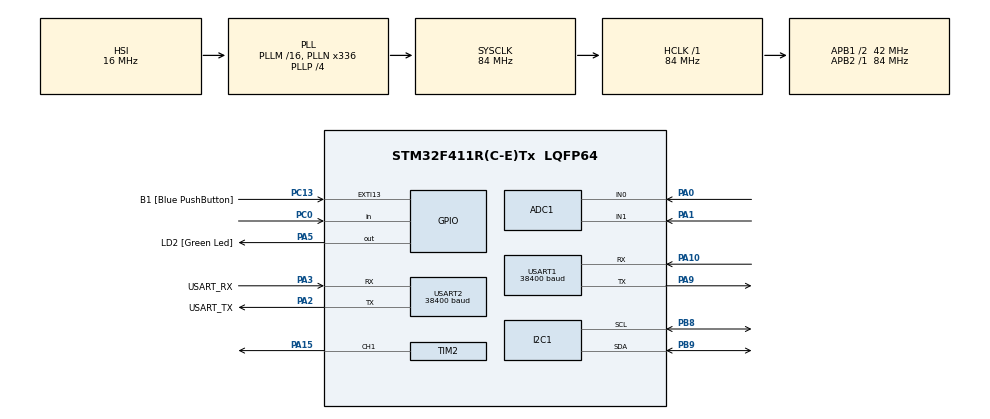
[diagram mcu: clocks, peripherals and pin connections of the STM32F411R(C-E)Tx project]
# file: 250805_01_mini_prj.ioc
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ADC1.Channel-0\#ChannelRegularConversion=ADC_CHANNEL_1
ADC1.NbrOfConversionFlag=1
ADC1.Rank-0\#ChannelRegularConversion=1
ADC1.SamplingTime-0\#ChannelRegularConversion=ADC_SAMPLETIME_3CYCLES
ADC1.master=1
FREERTOS.Tasks01=defaultTask,8,2048,StartDefaultTask,Default,NULL,Dynamic,NULL,NULL;JoyStickTask,16,512,StartTask02,Default,NULL,Dynamic,NULL,NULL;BGMTask,8,128,StartTask03,Default,NULL,Dynamic,NULL,NULL
FREERTOS.configUSE_NEWLIB_REENTRANT=1
Mcu.Family=STM32F4
Mcu.Name=STM32F411R(C-E)Tx
Mcu.Package=LQFP64
NVIC.PriorityGroup=NVIC_PRIORITYGROUP_4
NVIC.TIM1_UP_TIM10_IRQn=true\:15\:0\:false\:false\:true\:false\:false\:true\:true
NVIC.TimeBase=TIM1_UP_TIM10_IRQn
NVIC.TimeBaseIP=TIM1
NVIC.USART1_IRQn=true\:5\:0\:false\:false\:true\:true\:true\:true\:true
NVIC.USART2_IRQn=true\:5\:0\:false\:false\:true\:true\:true\:true\:true
PA0-WKUP.Signal=ADCx_IN0
PA1.Signal=ADCx_IN1
PA10.Mode=Asynchronous
PA10.Signal=USART1_RX
PA13.GPIO_Label=TMS
PA13.Mode=Serial_Wire
PA13.Signal=SYS_JTMS-SWDIO
PA14.GPIO_Label=TCK
PA14.Mode=Serial_Wire
PA14.Signal=SYS_JTCK-SWCLK
PA15.Signal=S_TIM2_CH1_ETR
PA2.GPIO_Label=USART_TX
PA2.Mode=Asynchronous
PA2.Signal=USART2_TX
PA3.GPIO_Label=USART_RX
PA3.Mode=Asynchronous
PA3.Signal=USART2_RX
PA5.GPIO_Label=LD2 [Green Led]
PA5.Signal=GPIO_Output
PA9.Mode=Asynchronous
PA9.Signal=USART1_TX
PB3.GPIO_Label=SWO
PB3.Signal=SYS_JTDO-SWO
PB8.Mode=I2C
PB8.Signal=I2C1_SCL
PB9.Mode=I2C
PB9.Signal=I2C1_SDA
PC0.GPIO_PuPd=GPIO_PULLUP
PC0.Signal=GPIO_Input
PC13-ANTI_TAMP.GPIO_Label=B1 [Blue PushButton]
PC13-ANTI_TAMP.GPIO_ModeDefaultEXTI=GPIO_MODE_IT_FALLING
PC13-ANTI_TAMP.Signal=GPXTI13
PC14-OSC32_IN.Mode=LSE-External-Oscillator
PC14-OSC32_IN.Signal=RCC_OSC32_IN
PC15-OSC32_OUT.Mode=LSE-External-Oscillator
PC15-OSC32_OUT.Signal=RCC_OSC32_OUT
PH0\ -\ OSC_IN.Mode=HSE-External-Clock-Source
PH0\ -\ OSC_IN.Signal=RCC_OSC_IN
PH1\ -\ OSC_OUT.Mode=HSE-External-Clock-Source
PH1\ -\ OSC_OUT.Signal=RCC_OSC_OUT
ProjectManager.HeapSize=0x200
ProjectManager.StackSize=0x400
ProjectManager.TargetToolchain=STM32CubeIDE
RCC.48MHZClocksFreq_Value=84000000
RCC.AHBFreq_Value=84000000
RCC.APB1CLKDivider=RCC_HCLK_DIV2
RCC.APB1Freq_Value=42000000
RCC.APB1TimFreq_Value=84000000
RCC.APB2Freq_Value=84000000
RCC.APB2TimFreq_Value=84000000
RCC.CortexFreq_Value=84000000
RCC.FLatency-AdvancedSettings=FLASH_LATENCY_2
RCC.HCLKFreq_Value=84000000
RCC.HSE_VALUE=8000000
RCC.HSI_VALUE=16000000
RCC.PLLN=336
RCC.PLLP=RCC_PLLP_DIV4
RCC.SYSCLKFreq_VALUE=84000000
RCC.SYSCLKSource=RCC_SYSCLKSOURCE_PLLCLK
RCC.VCOOutputFreq_Value=336000000
SH.ADCx_IN0.0=ADC1_IN0,IN0
SH.ADCx_IN1.0=ADC1_IN1,IN1
SH.S_TIM2_CH1_ETR.0=TIM2_CH1,PWM Generation1 CH1
TIM2.Channel-PWM\ Generation1\ CH1=TIM_CHANNEL_1
TIM2.Period=999
TIM2.Prescaler=83
USART1.BaudRate=38400
USART1.VirtualMode=VM_ASYNC
USART2.BaudRate=38400
USART2.VirtualMode=VM_ASYNC
VP_FREERTOS_VS_CMSIS_V2.Mode=CMSIS_V2
VP_SYS_VS_tim1.Mode=TIM1
board=NUCLEO-F411RE

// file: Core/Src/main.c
/* USER CODE BEGIN Header */
/**
 ******************************************************************************
 * @file           : main.c
 * @brief          : Main program body
 ******************************************************************************
 * @attention
 *
 * Copyright (c) 2025 STMicroelectronics.
 * All rights reserved.
 *
 * This software is licensed under terms that can be found in the LICENSE file
 * in the root directory of this software component.
 * If no LICENSE file comes with this software, it is provided AS-IS.
 *
 ******************************************************************************
 */
/* USER CODE END Header */
#include "main.h"
#include "cmsis_os.h"

/* USER CODE BEGIN Includes */
#include <stdio.h>
#include <stdlib.h>
#include <string.h>
#include "Headers.h"
#include "my_lcd_i2c.h"
#include "joystick.h"
#include "buzzer.h"
/* USER CODE END Includes */

ADC_HandleTypeDef hadc1;

I2C_HandleTypeDef hi2c1;

TIM_HandleTypeDef htim2;

UART_HandleTypeDef huart1;
UART_HandleTypeDef huart2;

/* Definitions for defaultTask */
osThreadId_t defaultTaskHandle;
const osThreadAttr_t defaultTask_attributes = {
  .name = "defaultTask",
  .stack_size = 2048 * 4,
  .priority = (osPriority_t) osPriorityLow,
};
/* Definitions for JoyStickTask */
osThreadId_t JoyStickTaskHandle;
const osThreadAttr_t JoyStickTask_attributes = {
  .name = "JoyStickTask",
  .stack_size = 512 * 4,
  .priority = (osPriority_t) osPriorityBelowNormal,
};
/* Definitions for BGMTask */
osThreadId_t BGMTaskHandle;
const osThreadAttr_t BGMTask_attributes = {
  .name = "BGMTask",
  .stack_size = 128 * 4,
  .priority = (osPriority_t) osPriorityLow,
};
/* USER CODE BEGIN PV */
Joystick_HandleTypeDef hjs;
Joystick_Tracker_t tracker = { 0 };

extern TIM_HandleTypeDef htim2;
Buzzer_HandleTypeDef myBuzzer;

uint8_t object_moving_distance = 1;

#define RX_BUFFER_SIZE 128
uint8_t uart1_rx_buf;
uint8_t uart2_rx_buf;
char rx1_buffer[RX_BUFFER_SIZE];
char rx2_buffer[RX_BUFFER_SIZE];
uint8_t rx1_index = 0;
uint8_t rx2_index = 0;

// for SCENE_CLEAR
int8_t minX = 0;
int8_t maxX = 80;
int8_t minY = 0;
int8_t maxY = 16;
OBJECT head;
OBJECT tail;
POS target_pos;

// for SCENE_MENU
char *menus[MENU_COUNT] =
{
	"0. Shooting",
	"1. TBD",
	"2. TBD",
	"3. TBD",
	"4. Settings",
};
uint8_t cur_menu_select = 0;
uint8_t menu_scroll_offset = 0;

// for SCENE_SHOOTING
OBJECT	player;
OBJECT	bullets[BULLET_MAX_COUNT];
uint8_t shooting_game_level = 1;
uint8_t bullet_moving_distance = 2;
uint8_t	bullet_size = 3;
OBJECT	walls[WALL_MAX_COUNT];
uint8_t	wall_delay = 0;
/* USER CODE END PV */

void SystemClock_Config(void);
static void MX_GPIO_Init(void);
static void MX_USART2_UART_Init(void);
static void MX_ADC1_Init(void);
static void MX_I2C1_Init(void);
static void MX_USART1_UART_Init(void);
static void MX_TIM2_Init(void);
void StartDefaultTask(void *argument);
void StartTask02(void *argument);
void StartTask03(void *argument);

/* USER CODE BEGIN PFP */
void SetPixelByPos(POS _pos);
void ResetPixelByPos(POS _pos);
void SetPixelByXY(int8_t _x, int8_t _y);
void ResetPixelByXY(int8_t _x, int8_t _y);

void ResetPixel();
void SetPixel();

void MoveByDir(OBJECT *_obj);
void MovePlayer(int8_t _dx, int8_t _dy);
void FireBullet(const OBJECT *_player);
void SummonBullet(uint8_t _cmd);
void CheckHitBullet();
void SummonWall();
void CheckHitWall();

void Init();
void InitSceneClear();
void InitSceneMenu();
void InitSceneWaiting();
void InitSceneShooting();
void InitSceneResult();

void Update();
void UpdateSceneClear();
void UpdateSceneMenu();
void UpdateSceneWaiting();
void UpdateSceneShooting();
void UpdateSceneResult();
void UpdateBullets();
void UpdateWalls();

void RenderPixel();
void Render();
void RenderSceneMenu();
void RenderSceneWaiting();
void RenderSceneResult();

void PlayBGM();

void ChangeScene();
/* USER CODE END PFP */

int main(void)
{

  /* MCU Configuration--------------------------------------------------------*/

  /* Reset of all peripherals, Initializes the Flash interface and the Systick. */
  HAL_Init();

  /* Configure the system clock */
  SystemClock_Config();

  /* Initialize all configured peripherals */
  MX_GPIO_Init();
  MX_USART2_UART_Init();
  MX_ADC1_Init();
  MX_I2C1_Init();
  MX_USART1_UART_Init();
  MX_TIM2_Init();
  /* USER CODE BEGIN 2 */
  HAL_Delay(1000);
  lcd_init(&hi2c1);
  Joystick_Init(&hjs, &hadc1, ADC_CHANNEL_0, &hadc1, ADC_CHANNEL_1, GPIOC,GPIO_PIN_0);
  buzzer_init(&myBuzzer, &htim2, TIM_CHANNEL_1, GPIOA, GPIO_PIN_15);

  HAL_UART_Receive_IT(&huart1, &uart1_rx_buf, 1);
  HAL_UART_Receive_IT(&huart2, &uart2_rx_buf, 1);
  /* USER CODE END 2 */

  /* Init scheduler */
  osKernelInitialize();

  /* Create the thread(s) */
  /* creation of defaultTask */
  defaultTaskHandle = osThreadNew(StartDefaultTask, NULL, &defaultTask_attributes);

  /* creation of JoyStickTask */
  JoyStickTaskHandle = osThreadNew(StartTask02, NULL, &JoyStickTask_attributes);

  /* creation of BGMTask */
  BGMTaskHandle = osThreadNew(StartTask03, NULL, &BGMTask_attributes);

  /* Start scheduler */
  osKernelStart();

  /* We should never get here as control is now taken by the scheduler */

  /* Infinite loop */
	while (1)
	{

	}
}

void SystemClock_Config(void)
{
  RCC_OscInitTypeDef RCC_OscInitStruct = {0};
  RCC_ClkInitTypeDef RCC_ClkInitStruct = {0};

  /** Configure the main internal regulator output voltage
  */
  __HAL_RCC_PWR_CLK_ENABLE();
  __HAL_PWR_VOLTAGESCALING_CONFIG(PWR_REGULATOR_VOLTAGE_SCALE1);

  /** Initializes the RCC Oscillators according to the specified parameters
  * in the RCC_OscInitTypeDef structure.
  */
  RCC_OscInitStruct.OscillatorType = RCC_OSCILLATORTYPE_HSI;
  RCC_OscInitStruct.HSIState = RCC_HSI_ON;
  RCC_OscInitStruct.HSICalibrationValue = RCC_HSICALIBRATION_DEFAULT;
  RCC_OscInitStruct.PLL.PLLState = RCC_PLL_ON;
  RCC_OscInitStruct.PLL.PLLSource = RCC_PLLSOURCE_HSI;
  RCC_OscInitStruct.PLL.PLLM = 16;
  RCC_OscInitStruct.PLL.PLLN = 336;
  RCC_OscInitStruct.PLL.PLLP = RCC_PLLP_DIV4;
  RCC_OscInitStruct.PLL.PLLQ = 4;
  if (HAL_RCC_OscConfig(&RCC_OscInitStruct) != HAL_OK)
  {
    Error_Handler();
  }

  /** Initializes the CPU, AHB and APB buses clocks
  */
  RCC_ClkInitStruct.ClockType = RCC_CLOCKTYPE_HCLK|RCC_CLOCKTYPE_SYSCLK
                              |RCC_CLOCKTYPE_PCLK1|RCC_CLOCKTYPE_PCLK2;
  RCC_ClkInitStruct.SYSCLKSource = RCC_SYSCLKSOURCE_PLLCLK;
  RCC_ClkInitStruct.AHBCLKDivider = RCC_SYSCLK_DIV1;
  RCC_ClkInitStruct.APB1CLKDivider = RCC_HCLK_DIV2;
  RCC_ClkInitStruct.APB2CLKDivider = RCC_HCLK_DIV1;

  if (HAL_RCC_ClockConfig(&RCC_ClkInitStruct, FLASH_LATENCY_2) != HAL_OK)
  {
    Error_Handler();
  }
}

static void MX_ADC1_Init(void)
{

  ADC_ChannelConfTypeDef sConfig = {0};

  /** Configure the global features of the ADC (Clock, Resolution, Data Alignment and number of conversion)
  */
  hadc1.Instance = ADC1;
  hadc1.Init.ClockPrescaler = ADC_CLOCK_SYNC_PCLK_DIV4;
  hadc1.Init.Resolution = ADC_RESOLUTION_12B;
  hadc1.Init.ScanConvMode = DISABLE;
  hadc1.Init.ContinuousConvMode = DISABLE;
  hadc1.Init.DiscontinuousConvMode = DISABLE;
  hadc1.Init.ExternalTrigConvEdge = ADC_EXTERNALTRIGCONVEDGE_NONE;
  hadc1.Init.ExternalTrigConv = ADC_SOFTWARE_START;
  hadc1.Init.DataAlign = ADC_DATAALIGN_RIGHT;
  hadc1.Init.NbrOfConversion = 1;
  hadc1.Init.DMAContinuousRequests = DISABLE;
  hadc1.Init.EOCSelection = ADC_EOC_SINGLE_CONV;
  if (HAL_ADC_Init(&hadc1) != HAL_OK)
  {
    Error_Handler();
  }

  /** Configure for the selected ADC regular channel its corresponding rank in the sequencer and its sample time.
  */
  sConfig.Channel = ADC_CHANNEL_1;
  sConfig.Rank = 1;
  sConfig.SamplingTime = ADC_SAMPLETIME_3CYCLES;
  if (HAL_ADC_ConfigChannel(&hadc1, &sConfig) != HAL_OK)
  {
    Error_Handler();
  }

}

static void MX_I2C1_Init(void)
{

  hi2c1.Instance = I2C1;
  hi2c1.Init.ClockSpeed = 100000;
  hi2c1.Init.DutyCycle = I2C_DUTYCYCLE_2;
  hi2c1.Init.OwnAddress1 = 0;
  hi2c1.Init.AddressingMode = I2C_ADDRESSINGMODE_7BIT;
  hi2c1.Init.DualAddressMode = I2C_DUALADDRESS_DISABLE;
  hi2c1.Init.OwnAddress2 = 0;
  hi2c1.Init.GeneralCallMode = I2C_GENERALCALL_DISABLE;
  hi2c1.Init.NoStretchMode = I2C_NOSTRETCH_DISABLE;
  if (HAL_I2C_Init(&hi2c1) != HAL_OK)
  {
    Error_Handler();
  }

}

static void MX_TIM2_Init(void)
{

  TIM_MasterConfigTypeDef sMasterConfig = {0};
  TIM_OC_InitTypeDef sConfigOC = {0};

  htim2.Instance = TIM2;
  htim2.Init.Prescaler = 83;
  htim2.Init.CounterMode = TIM_COUNTERMODE_UP;
  htim2.Init.Period = 999;
  htim2.Init.ClockDivision = TIM_CLOCKDIVISION_DIV1;
  htim2.Init.AutoReloadPreload = TIM_AUTORELOAD_PRELOAD_DISABLE;
  if (HAL_TIM_PWM_Init(&htim2) != HAL_OK)
  {
    Error_Handler();
  }
  sMasterConfig.MasterOutputTrigger = TIM_TRGO_RESET;
  sMasterConfig.MasterSlaveMode = TIM_MASTERSLAVEMODE_DISABLE;
  if (HAL_TIMEx_MasterConfigSynchronization(&htim2, &sMasterConfig) != HAL_OK)
  {
    Error_Handler();
  }
  sConfigOC.OCMode = TIM_OCMODE_PWM1;
  sConfigOC.Pulse = 0;
  sConfigOC.OCPolarity = TIM_OCPOLARITY_HIGH;
  sConfigOC.OCFastMode = TIM_OCFAST_DISABLE;
  if (HAL_TIM_PWM_ConfigChannel(&htim2, &sConfigOC, TIM_CHANNEL_1) != HAL_OK)
  {
    Error_Handler();
  }
  HAL_TIM_MspPostInit(&htim2);

}

static void MX_USART1_UART_Init(void)
{

  huart1.Instance = USART1;
  huart1.Init.BaudRate = 38400;
  huart1.Init.WordLength = UART_WORDLENGTH_8B;
  huart1.Init.StopBits = UART_STOPBITS_1;
  huart1.Init.Parity = UART_PARITY_NONE;
  huart1.Init.Mode = UART_MODE_TX_RX;
  huart1.Init.HwFlowCtl = UART_HWCONTROL_NONE;
  huart1.Init.OverSampling = UART_OVERSAMPLING_16;
  if (HAL_UART_Init(&huart1) != HAL_OK)
  {
    Error_Handler();
  }

}

static void MX_USART2_UART_Init(void)
{

  huart2.Instance = USART2;
  huart2.Init.BaudRate = 38400;
  huart2.Init.WordLength = UART_WORDLENGTH_8B;
  huart2.Init.StopBits = UART_STOPBITS_1;
  huart2.Init.Parity = UART_PARITY_NONE;
  huart2.Init.Mode = UART_MODE_TX_RX;
  huart2.Init.HwFlowCtl = UART_HWCONTROL_NONE;
  huart2.Init.OverSampling = UART_OVERSAMPLING_16;
  if (HAL_UART_Init(&huart2) != HAL_OK)
  {
    Error_Handler();
  }

}

static void MX_GPIO_Init(void)
{
  GPIO_InitTypeDef GPIO_InitStruct = {0};

  /* GPIO Ports Clock Enable */
  __HAL_RCC_GPIOC_CLK_ENABLE();
  __HAL_RCC_GPIOH_CLK_ENABLE();
  __HAL_RCC_GPIOA_CLK_ENABLE();
  __HAL_RCC_GPIOB_CLK_ENABLE();

  /*Configure GPIO pin Output Level */
  HAL_GPIO_WritePin(LD2_GPIO_Port, LD2_Pin, GPIO_PIN_RESET);

  /*Configure GPIO pin : B1_Pin */
  GPIO_InitStruct.Pin = B1_Pin;
  GPIO_InitStruct.Mode = GPIO_MODE_IT_FALLING;
  GPIO_InitStruct.Pull = GPIO_NOPULL;
  HAL_GPIO_Init(B1_GPIO_Port, &GPIO_InitStruct);

  /*Configure GPIO pin : PC0 */
  GPIO_InitStruct.Pin = GPIO_PIN_0;
  GPIO_InitStruct.Mode = GPIO_MODE_INPUT;
  GPIO_InitStruct.Pull = GPIO_PULLUP;
  HAL_GPIO_Init(GPIOC, &GPIO_InitStruct);

  /*Configure GPIO pin : LD2_Pin */
  GPIO_InitStruct.Pin = LD2_Pin;
  GPIO_InitStruct.Mode = GPIO_MODE_OUTPUT_PP;
  GPIO_InitStruct.Pull = GPIO_NOPULL;
  GPIO_InitStruct.Speed = GPIO_SPEED_FREQ_LOW;
  HAL_GPIO_Init(LD2_GPIO_Port, &GPIO_InitStruct);

}

/* USER CODE BEGIN 4 */
void HAL_UART_RxCpltCallback(UART_HandleTypeDef *huart)
{
	if (huart->Instance == USART1)
	{
		if (rx1_index < RX_BUFFER_SIZE - 1)
		{
			rx1_buffer[rx1_index++] = (char) uart1_rx_buf;
		}

		if (rx1_buffer[rx1_index - 2] == '\r' && rx1_buffer[rx1_index - 1] == '\n')
		{
			uint8_t temp = (uint8_t)atoi(rx1_buffer);

			if (temp < 0x40)
				SummonBullet(temp);
			else if (temp < 0x80)
			{
				if (g_cur_scene == SCENE_WAITING)
				{
					if ((temp & 0x0F) == cur_menu_select)
						g_flag = temp;
				}
			}
			else if (temp == 0x80)
			{
				g_flag = 0xC0;
				g_tick = 0;
			}

			memset(rx1_buffer, 0, RX_BUFFER_SIZE);
			rx1_index = 0;
		}

		HAL_UART_Receive_IT(&huart1, &uart1_rx_buf, 1);
	}
	else if (huart->Instance == USART2)
	{
		if (rx2_index < RX_BUFFER_SIZE - 1)
		{
			rx2_buffer[rx2_index++] = (char) uart2_rx_buf;
		}

		if (rx2_buffer[rx2_index - 2] == '\r' && rx2_buffer[rx2_index - 1] == '\n')
		{
			uint8_t temp = (uint8_t)atoi(rx2_buffer);

			if (temp < 0x40)
				SummonBullet(temp);
			else if (temp < 0x80)
			{
				if (g_cur_scene == SCENE_WAITING)
				{
					if ((temp & 0x0F) == cur_menu_select)
					{
						if (cur_menu_select == 0)
							g_flag = temp;
					}
				}
			}
			else if (temp == 0x80)
			{
				g_flag = 0xC0;
				g_tick = 0;
			}

			memset(rx2_buffer, 0, RX_BUFFER_SIZE);
			rx2_index = 0;
		}
		HAL_UART_Receive_IT(&huart2, &uart2_rx_buf, 1);
	}
}

void SetPixelByPos(POS _pos)
{
	if (_pos.x < LCD_MIN_X || LCD_MAX_X <= _pos.x || _pos.y < LCD_MIN_Y || LCD_MAX_Y <= _pos.y)
		return;

	map[_pos.x / 5 * 10 + _pos.y / 8 * 5 + _pos.x % 5] |= (0x01 << (7 - (_pos.y % 8)));
}
void ResetPixelByPos(POS _pos)
{
	if (_pos.x < LCD_MIN_X || LCD_MAX_X <= _pos.x || _pos.y < LCD_MIN_Y || LCD_MAX_Y <= _pos.y)
		return;

	map[_pos.x / 5 * 10 + _pos.y / 8 * 5 + _pos.x % 5] &= ~(0x01 << (7 - (_pos.y % 8)));
}
void SetPixelByXY(int8_t _x, int8_t _y)
{
	if (_x < LCD_MIN_X || LCD_MAX_X <= _x || _y < LCD_MIN_Y || LCD_MAX_Y <= _y)
		return;

	map[_x / 5 * 10 + _y / 8 * 5 + _x % 5] |= (0x01 << (7 - (_y % 8)));
}
void ResetPixelByXY(int8_t _x, int8_t _y)
{
	if (_x < LCD_MIN_X || LCD_MAX_X <= _x || _y < LCD_MIN_Y || LCD_MAX_Y <= _y)
		return;

	map[_x / 5 * 10 + _y / 8 * 5 + _x % 5] &= ~(0x01 << (7 - (_y % 8)));
}

void ResetPixel()
{
	switch (g_cur_scene)
	{
		case SCENE_SHOOTING:
		{
			if ((g_flag & 0x80) == 0)
			{
				// player
				for (int8_t i = -2; i <= 2; i++)
				{
					for (int8_t j = -2; j <= 2; j++)
					{
						int8_t x = player.pos.x + i;
						int8_t y = player.pos.y + j;

						if (x < LCD_MIN_X || LCD_MAX_X <= x || y < LCD_MIN_Y || LCD_MAX_Y <= y)
							continue;

						ResetPixelByXY(x, y);
					}
				}

				// bullets
				for (int i = 0; i < BULLET_MAX_COUNT; i++)
				{
					if ((bullets[i].dir & DIR_RUNNING) == 0)
						continue;

					if ((bullets[i].dir & DIR_RIGHT) > 0)
					{
						for (int j = 0; j <= bullet_size; j++)
						{
							ResetPixelByXY(bullets[i].pos.x - bullet_moving_distance - j, bullets[i].pos.y);
						}
					}
					else if ((bullets[i].dir & DIR_LEFT) > 0)
					{
						for (int j = 0; j <= bullet_size; j++)
						{
							ResetPixelByXY(bullets[i].pos.x + bullet_moving_distance + j, bullets[i].pos.y);
						}
					}
				}

				// walls
				for (int i = 0; i < WALL_MAX_COUNT; i++)
				{
					if ((walls[i].dir & DIR_RUNNING) == 0)
						continue;

					if ((walls[i].dir & DIR_RIGHT) > 0)
					{
						for (int j = 0; j < 8; j++)
						{
							ResetPixelByXY(walls[i].pos.x - 1, walls[i].pos.y + j);
						}
					}
					else if ((walls[i].dir & DIR_LEFT) > 0)
					{
						for (int j = 0; j < 8; j++)
						{
							ResetPixelByXY(walls[i].pos.x + 1, walls[i].pos.y + j);
						}
					}
				}
			}

			break;
		}
		default:
		{
			break;
		}
	}
}
void SetPixel()
{
	switch (g_cur_scene)
	{
		case SCENE_SHOOTING:
		{
			if ((g_flag & 0x80) == 0)
			{
				// player
				for (int8_t i = -1; i <= 1; i++)
				{
					for (int8_t j = -1; j <= 1; j++)
					{
						int8_t x = player.pos.x + i;
						int8_t y = player.pos.y + j;

						if (x < LCD_MIN_X || LCD_MAX_X <= x || y < LCD_MIN_Y || LCD_MAX_Y <= y)
							continue;

						if (((player.dir & DIR_RIGHT) > 0 && i == 1 && j != 0)
								|| ((player.dir & DIR_LEFT) > 0 && i == -1 && j != 0))
							continue;

						SetPixelByXY(x, y);
					}
				}

				// bullets
				for (int i = 0; i < BULLET_MAX_COUNT; i++)
				{
					if ((bullets[i].dir & DIR_RUNNING) == 0)
						continue;

					if ((bullets[i].dir & DIR_RIGHT) > 0)
					{
						for (int j = 0; j <= bullet_size; j++)
						{
							SetPixelByXY(bullets[i].pos.x - j, bullets[i].pos.y);
						}
					}
					else if ((bullets[i].dir & DIR_LEFT) > 0)
					{
						for (int j = 0; j <= bullet_size; j++)
						{
							SetPixelByXY(bullets[i].pos.x + j, bullets[i].pos.y);
						}
					}
				}

				// walls
				for (int i = 0; i < WALL_MAX_COUNT; i++)
				{
					if ((walls[i].dir & DIR_RUNNING) == 0)
						continue;

					for (int j = 0; j < 8; j++)
					{
						SetPixelByXY(walls[i].pos.x, walls[i].pos.y + j);
					}
				}
			}

			break;
		}
		default:
		{
			break;
		}
	}
}

void MoveByDir(OBJECT *_obj)
{
	if ((_obj->dir & 0x03) == DIR_UP)			_obj->pos.y -= object_moving_distance;
	else if ((_obj->dir & 0x03) == DIR_RIGHT)	_obj->pos.x += object_moving_distance;
	else if ((_obj->dir & 0x03) == DIR_DOWN)	_obj->pos.y += object_moving_distance;
	else if ((_obj->dir & 0x03) == DIR_LEFT)	_obj->pos.x -= object_moving_distance;
}
void MovePlayer(int8_t _dx, int8_t _dy)
{
	player.pos.x = max(PLAYABLE_MIN_X, min(PLAYABLE_MAX_X, player.pos.x + _dx));
	player.pos.y = max(PLAYABLE_MIN_Y, min(PLAYABLE_MAX_Y, player.pos.y + _dy));

	if (_dx > 0)
	{
		// look right
		player.dir &= ~DIR_LEFT;
		player.dir |= DIR_RIGHT;
	}
	else if (_dx < 0)
	{
		// look left
		player.dir &= ~DIR_RIGHT;
		player.dir |= DIR_LEFT;
	}
}
void FireBullet(const OBJECT *_player)
{
	for (int i = 0; i < BULLET_MAX_COUNT / 2; i++)
	{
		if ((bullets[i].dir & DIR_RUNNING) == 0)
		{
			bullets[i].dir |= DIR_RUNNING | _player->dir;

			bullets[i].pos = _player->pos;
			if ((bullets[i].dir & DIR_RIGHT) > 0)
			{
				bullets[i].pos.x += 3;
			}
			else if ((bullets[i].dir & DIR_LEFT) > 0)
			{
				bullets[i].pos.x -= 3;
			}

			break;
		}
	}
}
void SummonBullet(uint8_t _cmd)
{
	for (int i = BULLET_MAX_COUNT / 2; i < BULLET_MAX_COUNT; i++)
	{
		if ((bullets[i].dir & DIR_RUNNING) == 0)
		{
			bullets[i].dir |= DIR_RUNNING;

			if ((((_cmd & 0x30) >> 4) & DIR_RIGHT) > 0)
			{
				bullets[i].pos.x = LCD_MAX_X - 1;
				bullets[i].pos.y = (_cmd & 0x0F);
				bullets[i].dir |= DIR_LEFT;
			}
			else if ((((_cmd & 0x30) >> 4) & DIR_LEFT) > 0)
			{
				bullets[i].pos.x = 0;
				bullets[i].pos.y = (_cmd & 0x0F);
				bullets[i].dir |= DIR_RIGHT;
			}

			break;
		}
	}
}
void CheckHitBullet()
{
	for (int i = BULLET_MAX_COUNT / 2; i < BULLET_MAX_COUNT; i++)
	{
		if ((bullets[i].dir & DIR_RUNNING) == 0)
			continue;

		if (abs(bullets[i].pos.x - player.pos.x) < 3
				&& abs(bullets[i].pos.y - player.pos.y) < 2)
		{
			bullets[i].dir = 0;

			g_flag = 0x80;
			g_tick = 0;

			// UART Transmit
			char buf[8];
			sprintf(buf, "%d\r\n", g_flag);
			HAL_UART_Transmit(&huart1, (uint8_t*) buf, strlen(buf), HAL_MAX_DELAY);
			HAL_UART_Transmit(&huart2, (uint8_t*) buf, strlen(buf), HAL_MAX_DELAY);

			break;
		}
	}
}
void SummonWall()
{
	if (shooting_game_level != 3)
		return;

	if (wall_delay < g_tick)
	{
		wall_delay = rand() % 25 + 15;
		g_tick = 0;

		int8_t temp = rand() % 4;

		for (int i = 0; i < WALL_MAX_COUNT; i++)
		{
			if ((walls[i].dir & DIR_RUNNING) == 0)
			{
				walls[i].dir |= DIR_RUNNING;

				if (temp < 2)
				{
					walls[i].dir |= DIR_RIGHT;
					walls[i].pos.x = 0;
					if (temp == 0)
						walls[i].pos.y = 0;
					else
						walls[i].pos.y = 8;
				}
				else
				{
					walls[i].dir |= DIR_LEFT;
					walls[i].pos.x = LCD_MAX_X - 1;
					if (temp == 0)
						walls[i].pos.y = 0;
					else
						walls[i].pos.y = 8;
				}

				break;
			}
		}
	}
}
void CheckHitWall()
{
	for (int i = 0; i < WALL_MAX_COUNT; i++)
	{
		if ((walls[i].dir & DIR_RUNNING) == 0)
			continue;

		if (abs(walls[i].pos.x - player.pos.x) < 2
				&& player.pos.y - walls[i].pos.y >= -1
				&& player.pos.y - walls[i].pos.y < 9)
		{
			walls[i].dir = 0;

			g_flag = 0x80;
			g_tick = 0;

			// UART Transmit
			char buf[8];
			sprintf(buf, "%d\r\n", g_flag);
			HAL_UART_Transmit(&huart1, (uint8_t*) buf, strlen(buf), HAL_MAX_DELAY);
			HAL_UART_Transmit(&huart2, (uint8_t*) buf, strlen(buf), HAL_MAX_DELAY);

			break;
		}
	}
}

void Init()
{
	srand(HAL_GetTick());

	lcd_clear();

	g_flag = 0;
	g_tick = 0;

	InitSceneClear();
	InitSceneShooting();
	InitSceneResult();
}
void InitSceneClear()
{
	head.pos.x = 0;
	head.pos.y = 0;
	head.dir = DIR_RIGHT;

	tail.pos.x = -20;
	tail.pos.y = 0;
	tail.dir = DIR_RIGHT;

	minX = 0;
	maxX = 80;
	minY = 0;
	maxY = 16;

	target_pos.x = 0;
	target_pos.y = 1;
}
void InitSceneMenu()
{
	g_flag = 0;
}
void InitSceneWaiting()
{
	g_tick = 0;
}
void InitSceneShooting()
{
	g_tick = 0;

	player.pos.x = 38;
	player.pos.y = 6;
	player.dir = DIR_LEFT;

	memset(map, 0, sizeof(map));

	shooting_game_level = 1;
	bullet_moving_distance = 2;
	bullet_size = 3;

	memset(bullets, 0, sizeof(bullets));
	memset(walls, 0, sizeof(walls));

	wall_delay = rand() % 25 + 15;
}
void InitSceneResult()
{
	g_tick = 0;
}

void Update()
{
	switch (g_cur_scene)
	{
		case SCENE_CLEAR:
		{
			UpdateSceneClear();
			break;
		}
		case SCENE_MENU:
		{
			UpdateSceneMenu();
			break;
		}
		case SCENE_WAITING:
		{
			UpdateSceneWaiting();
			break;
		}
		case SCENE_SHOOTING:
		{
			UpdateSceneShooting();
			break;
		}
		case SCENE_RESULT:
		{
			UpdateSceneResult();
			break;
		}
		default:
		{
			break;
		}
	}
}
void UpdateSceneClear()
{
	if ((head.dir & 0x03) == DIR_UP)
	{
		if (head.pos.y - object_moving_distance < minY)
		{
			head.dir = DIR_RIGHT;
		}
	}
	else if ((head.dir & 0x03) == DIR_RIGHT)
	{
		if (head.pos.x + object_moving_distance >= maxX)
		{
			head.dir = DIR_DOWN;
		}
	}
	else if ((head.dir & 0x03) == DIR_DOWN)
	{
		if (head.pos.y + object_moving_distance >= maxY)
		{
			head.dir = DIR_LEFT;
		}
	}
	else if ((head.dir & 0x03) == DIR_LEFT)
	{
		if (head.pos.x - object_moving_distance < minX)
		{
			head.dir = DIR_UP;
		}
	}

	if ((tail.dir & 0x03) == DIR_UP)
	{
		if (tail.pos.y - object_moving_distance < minY)
		{
			tail.dir = DIR_RIGHT;
			minX++;
		}
	}
	else if ((tail.dir & 0x03) == DIR_RIGHT)
	{
		if (tail.pos.x + object_moving_distance >= maxX)
		{
			tail.dir = DIR_DOWN;
			minY++;
		}
	}
	else if ((tail.dir & 0x03) == DIR_DOWN)
	{
		if (tail.pos.y + object_moving_distance >= maxY)
		{
			tail.dir = DIR_LEFT;
			maxX--;
		}
	}
	else if ((tail.dir & 0x03) == DIR_LEFT)
	{
		if (tail.pos.x - object_moving_distance < minX)
		{
			tail.dir = DIR_UP;
			maxY--;
		}
	}

	if ((head.pos.x != target_pos.x) || (head.pos.y != target_pos.y))
	{
		MoveByDir(&head);
	}
	MoveByDir(&tail);

	if ((head.pos.x != target_pos.x) || (head.pos.y != target_pos.y))
	{
		SetPixelByPos(head.pos);
	}
	ResetPixelByPos(tail.pos);

	if ((tail.pos.x == target_pos.x) && (tail.pos.y == target_pos.y))
	{
		lcd_clear();
		memset(map, 0, sizeof(map));

		InitSceneClear();
		g_nxt_scene = SCENE_MENU;
	}
}
void UpdateSceneMenu()
{
	if (g_input_sw > 0)
	{
		if (cur_menu_select == 0)
		{
			g_nxt_scene = SCENE_WAITING;
			return;
		}
	}

	if (g_input_y > 0)
	{
		if (cur_menu_select < MENU_COUNT - 1)
		{
			cur_menu_select++;
			if (menu_scroll_offset < cur_menu_select - 1)
			{
				menu_scroll_offset = cur_menu_select - 1;
				lcd_clear();
			}
		}
		else
		{
			cur_menu_select = 0;
			menu_scroll_offset = 0;
			lcd_clear();
		}
	}
	else if (g_input_y < 0)
	{
		if (cur_menu_select > 0)
		{
			cur_menu_select--;
			if (menu_scroll_offset > cur_menu_select)
			{
				menu_scroll_offset = cur_menu_select;
				lcd_clear();
			}
		}
		else
		{
			cur_menu_select = MENU_COUNT - 1;
			menu_scroll_offset = max(0, cur_menu_select - 1);
			lcd_clear();
		}
	}
}
void UpdateSceneWaiting()
{
	if (g_tick % 10 == 0)
	{
		// UART Transmit
		char buf[8];
		sprintf(buf, "%d\r\n", (0x40 | cur_menu_select));
		HAL_UART_Transmit(&huart1, (uint8_t*) buf, strlen(buf), HAL_MAX_DELAY);
		HAL_UART_Transmit(&huart2, (uint8_t*) buf, strlen(buf), HAL_MAX_DELAY);
	}

	if ((g_flag & 0x40) > 0)
	{
		if ((g_flag & 0x0F) == cur_menu_select)
		{
			g_nxt_scene = SCENE_SHOOTING;
			// UART Transmit
			char buf[8];
			sprintf(buf, "%d\r\n", (0x40 | cur_menu_select));
			HAL_UART_Transmit(&huart1, (uint8_t*) buf, strlen(buf), HAL_MAX_DELAY);
			HAL_UART_Transmit(&huart2, (uint8_t*) buf, strlen(buf), HAL_MAX_DELAY);
		}
	}

	g_tick++;
}
void UpdateSceneShooting()
{
	g_tick++;

	if ((g_flag & 0x80) > 0)
	{
		if (g_tick > 60)
		{
			g_nxt_scene = SCENE_RESULT;
		}
		else if (g_tick % 6 == 0)
		{
			for (int i = 70; i < 90; i++)
			{
				map[i] = ~map[i];
			}
		}
	}
	else
	{
		if (shooting_game_level == 1 && g_tick > 100)
		{
			shooting_game_level = 2;
			bullet_moving_distance = 3;
			bullet_size = 5;

			g_tick = 0;
		}
		else if (shooting_game_level == 2 && g_tick > 100)
		{
			shooting_game_level = 3;
			bullet_moving_distance = 5;
			bullet_size = 7;

			g_tick = 0;
		}

		MovePlayer(g_input_x, g_input_y);

		if (g_input_sw > 0)
			FireBullet(&player);

		UpdateBullets();
		UpdateWalls();

		CheckHitBullet();
		CheckHitWall();
	}
}
void UpdateSceneResult()
{
	g_tick++;

	if (g_tick > 60)
	{
		g_nxt_scene = SCENE_MENU;
	}
}
void UpdateBullets()
{
	for (int i = 0; i < BULLET_MAX_COUNT; i++)
	{
		if ((bullets[i].dir & DIR_RUNNING) == 0)
			continue;

		if ((bullets[i].dir & DIR_RIGHT) > 0)
		{
			bullets[i].pos.x += bullet_moving_distance;

			if (i < BULLET_MAX_COUNT / 2 && LCD_MAX_X <= bullets[i].pos.x)
			{
				bullets[i].dir = 0;

				for (int j = 0; j <= bullet_size + bullet_moving_distance - 1; j++)
				{
					ResetPixelByXY(LCD_MAX_X - 1 - j, bullets[i].pos.y);
				}

				// UART Transmit
				uint8_t temp = 0;
				temp |= (DIR_RIGHT << 4);
				temp |= (bullets[i].pos.y & 0x0F);
				char buf[8];
				sprintf(buf, "%d\r\n", temp);
				HAL_UART_Transmit(&huart1, (uint8_t*)buf, strlen(buf), HAL_MAX_DELAY);
				HAL_UART_Transmit(&huart2, (uint8_t*)buf, strlen(buf), HAL_MAX_DELAY);
			}
			else if (i >= BULLET_MAX_COUNT / 2 && PLAYABLE_MAX_X + 10 < bullets[i].pos.x)
			{
				bullets[i].dir = 0;

				for (int j = 0; j <= bullet_size; j++)
				{
					ResetPixelByXY(bullets[i].pos.x - bullet_moving_distance - j, bullets[i].pos.y);
				}
			}
		}
		else if ((bullets[i].dir & DIR_LEFT) > 0)
		{
			bullets[i].pos.x -= bullet_moving_distance;

			if (i < BULLET_MAX_COUNT / 2 && bullets[i].pos.x < LCD_MIN_X)
			{
				bullets[i].dir = 0;

				for (int j = 0; j <= bullet_size + bullet_moving_distance - 1; j++)
				{
					ResetPixelByXY(LCD_MIN_X + j, bullets[i].pos.y);
				}

				// USART Transmit
				uint8_t temp = 0;
				temp |= (DIR_LEFT << 4);
				temp |= (bullets[i].pos.y & 0x0F);
				char buf[8];
				sprintf(buf, "%d\r\n", temp);
				HAL_UART_Transmit(&huart1, (uint8_t*) buf, strlen(buf), HAL_MAX_DELAY);
				HAL_UART_Transmit(&huart2, (uint8_t*) buf, strlen(buf), HAL_MAX_DELAY);
			}
			else if (i >= BULLET_MAX_COUNT / 2 && bullets[i].pos.x < PLAYABLE_MIN_X - 10)
			{
				bullets[i].dir = 0;

				for (int j = 0; j <= bullet_size; j++)
				{
					ResetPixelByXY(bullets[i].pos.x + bullet_moving_distance + j, bullets[i].pos.y);
				}
			}
		}
	}
}
void UpdateWalls()
{
	SummonWall();

	for (int i = 0; i < WALL_MAX_COUNT; i++)
	{
		if ((walls[i].dir & DIR_RUNNING) == 0)
			continue;

		if ((walls[i].dir & DIR_RIGHT) > 0)
		{
			walls[i].pos.x += 1;

			if (PLAYABLE_MAX_X + 10 <= walls[i].pos.x)
			{
				walls[i].dir = 0;

				for (int j = 0; j < 8; j++)
				{
					ResetPixelByXY(walls[i].pos.x - 1, walls[i].pos.y + j);
				}
			}
		}
		else if ((walls[i].dir & DIR_LEFT) > 0)
		{
			walls[i].pos.x -= 1;

			if (walls[i].pos.x < PLAYABLE_MIN_X - 10)
			{
				walls[i].dir = 0;

				for (int j = 0; j < 8; j++)
				{
					ResetPixelByXY(walls[i].pos.x + 1, walls[i].pos.y + j);
				}
			}
		}
	}
}

void RenderPixel()
{
	uint8_t display_count = 0;

	for (int i = 70; i >= 0; i -= 10)
	{
		uint8_t flag = 0;

		for (int j = 0; j < 5; j++)
		{
			if ((flag & 0x0F) == 0x0F)
			{
				break;
			}

			if (((flag & 0x01) == 0) && ((map[i + j] & 0xFF) > 0))
			{
				if (display_count < 8)
				{
					display_index[i / 5] = (display_count << 1);
					display_index[i / 5] |= 0x01;
					display_count++;
				}

				flag |= 0x01;
			}

			if (((flag & 0x02) == 0) && ((map[i + j + 5] & 0xFF) > 0))
			{
				if (display_count < 8)
				{
					display_index[i / 5 + 1] = (display_count << 1);
					display_index[i / 5 + 1] |= 0x01;
					display_count++;
				}

				flag |= 0x02;
			}

			if (((flag & 0x04) == 0) && ((map[MAP_SIZE - 10 - i + j] & 0xFF) > 0))
			{
				if (display_count < 8)
				{
					display_index[(MAP_SIZE - 10 - i) / 5] =
							(display_count << 1);
					display_index[(MAP_SIZE - 10 - i) / 5] |= 0x01;
					display_count++;
				}

				flag |= 0x04;
			}

			if (((flag & 0x08) == 0) && ((map[MAP_SIZE - 10 - i + j + 5] & 0xFF) > 0))
			{
				if (display_count < 8)
				{
					display_index[(MAP_SIZE - 10 - i) / 5 + 1] = (display_count
							<< 1);
					display_index[(MAP_SIZE - 10 - i) / 5 + 1] |= 0x01;
					display_count++;
				}

				flag |= 0x08;
			}
		}
	}

	for (int i = 0; i < 32; i++)
	{
		if (display_index[i] == 0x00)
		{
			if (((last_display_index >> i) & 0x00000001) > 0)
			{
				lcd_set_cursor(i % 2, i / 2);
				lcd_send_data(0x20);

				last_display_index &= ~(0x00000001 << i);
			}

			continue;
		}

		uint8_t temp[8] = { 0, };
		//temp[0] |= ( ((map[i * 5 + 0] >> 3) & 0x1F) );
		//temp[1] |= ( ((map[i * 5 + 0] << 2) & 0x1C) | ( (map[i * 5 + 1] >> 6) & 0x03) );
		//temp[2] |= ( ((map[i * 5 + 1] >> 1) & 0x1F) );
		//temp[3] |= ( ((map[i * 5 + 1] << 4) & 0x10) | ( (map[i * 5 + 2] >> 4) & 0x0F) );
		//temp[4] |= ( ((map[i * 5 + 2] << 1) & 0x1E) | ( (map[i * 5 + 3] >> 7) & 0x01) );
		//temp[5] |= ( ((map[i * 5 + 3] >> 2) & 0x1F) );
		//temp[6] |= ( ((map[i * 5 + 3] << 3) & 0x18) | ( (map[i * 5 + 4] >> 5) & 0x07) );
		//temp[7] |= ( ((map[i * 5 + 4] >> 0) & 0x1F) );
		temp[0] |= ((map[i * 5 + 0] >> 3) & 0x10) | ((map[i * 5 + 1] >> 4) & 0x08) | ((map[i * 5 + 2] >> 5) & 0x04) | ((map[i * 5 + 3] >> 6) & 0x02) | ((map[i * 5 + 4] >> 7) & 0x01);
		temp[1] |= ((map[i * 5 + 0] >> 2) & 0x10) | ((map[i * 5 + 1] >> 3) & 0x08) | ((map[i * 5 + 2] >> 4) & 0x04) | ((map[i * 5 + 3] >> 5) & 0x02) | ((map[i * 5 + 4] >> 6) & 0x01);
		temp[2] |= ((map[i * 5 + 0] >> 1) & 0x10) | ((map[i * 5 + 1] >> 2) & 0x08) | ((map[i * 5 + 2] >> 3) & 0x04) | ((map[i * 5 + 3] >> 4) & 0x02) | ((map[i * 5 + 4] >> 5) & 0x01);
		temp[3] |= ((map[i * 5 + 0] >> 0) & 0x10) | ((map[i * 5 + 1] >> 1) & 0x08) | ((map[i * 5 + 2] >> 2) & 0x04) | ((map[i * 5 + 3] >> 3) & 0x02) | ((map[i * 5 + 4] >> 4) & 0x01);
		temp[4] |= ((map[i * 5 + 0] << 1) & 0x10) | ((map[i * 5 + 1] >> 0) & 0x08) | ((map[i * 5 + 2] >> 1) & 0x04) | ((map[i * 5 + 3] >> 2) & 0x02) | ((map[i * 5 + 4] >> 3) & 0x01);
		temp[5] |= ((map[i * 5 + 0] << 2) & 0x10) | ((map[i * 5 + 1] << 1) & 0x08) | ((map[i * 5 + 2] >> 0) & 0x04) | ((map[i * 5 + 3] >> 1) & 0x02) | ((map[i * 5 + 4] >> 2) & 0x01);
		temp[6] |= ((map[i * 5 + 0] << 3) & 0x10) | ((map[i * 5 + 1] << 2) & 0x08) | ((map[i * 5 + 2] << 1) & 0x04) | ((map[i * 5 + 3] >> 0) & 0x02) | ((map[i * 5 + 4] >> 1) & 0x01);
		temp[7] |= ((map[i * 5 + 0] << 4) & 0x10) | ((map[i * 5 + 1] << 3) & 0x08) | ((map[i * 5 + 2] << 2) & 0x04) | ((map[i * 5 + 3] << 1) & 0x02) | ((map[i * 5 + 4] >> 0) & 0x01);

		lcd_create_char(display_index[i] >> 1, temp);
		lcd_set_cursor(i % 2, i / 2);
		lcd_send_data(display_index[i] >> 1);

		display_index[i] &= 0x00;
		last_display_index |= (0x00000001 << i);
	}
}
void Render()
{
	switch (g_cur_scene)
	{
		case SCENE_CLEAR:
		case SCENE_SHOOTING:
		{
			ResetPixel();
			SetPixel();

			RenderPixel();
			break;
		}
		case SCENE_WAITING:
		{
			RenderSceneWaiting();
			break;
		}
		case SCENE_MENU:
		{
			RenderSceneMenu();
			break;
		}
		case SCENE_RESULT:
		{
			RenderSceneResult();
			break;
		}
		default:
		{
			break;
		}
	}
}
void RenderSceneMenu()
{
	for (int i = 0; i < 2; i++)
	{
		uint8_t menu_index = menu_scroll_offset + i;
		lcd_set_cursor(i, 0);

		if (menu_index == cur_menu_select)
		{
			lcd_send_string(">");
		}
		else
		{
			lcd_send_string(" ");
		}

		lcd_send_string(menus[menu_index]);
	}
}
void RenderSceneWaiting()
{
	lcd_set_cursor(0, 4);
	lcd_send_string("WAITING");
	lcd_set_cursor(1, 2);
	lcd_send_string("FOR OPPONENT");
}
void RenderSceneResult()
{
	lcd_set_cursor(0, 4);
	lcd_send_string((g_flag & 0xC0) == 0xC0 ? "YOU WIN" : "YOU LOSE");
}

void PlayBGM()
{
	switch (g_cur_scene)
	{
		case SCENE_MENU:
		{
			playMainTheme(&myBuzzer, 20);
			break;
		}
		case SCENE_SHOOTING:
		{
			playTankBGM(&myBuzzer, 20);
			break;
		}
		default:
		{
			break;
		}
	}
}

void ChangeScene()
{
	if (g_cur_scene != g_nxt_scene)
	{
		g_prv_scene = g_cur_scene;
		g_cur_scene = g_nxt_scene;

		switch(g_cur_scene)
		{
			case SCENE_CLEAR:
			{
				InitSceneClear();
				break;
			}
			case SCENE_MENU:
			{
				InitSceneMenu();
				break;
			}
			case SCENE_WAITING:
			{
				InitSceneWaiting();
				break;
			}
			case SCENE_SHOOTING:
			{
				InitSceneShooting();
				break;
			}
			case SCENE_RESULT:
			{
				InitSceneResult();
				break;
			}
			default:
			{
				break;
			}
		}

		lcd_clear();
	}
}
/* USER CODE END 4 */

void StartDefaultTask(void *argument)
{
  /* USER CODE BEGIN 5 */
	Init();
	/* Infinite loop */
	for (;;)
	{
		Update();

		Render();

		ChangeScene();

		g_input_x = 0;
		g_input_y = 0;
		g_input_sw = 0;

		osDelay(g_cur_scene == SCENE_CLEAR ? 1 : 100);
	}
  /* USER CODE END 5 */
}

void StartTask02(void *argument)
{
  /* USER CODE BEGIN StartTask02 */
	/* Infinite loop */
	for (;;)
	{
		Joystick_Data_t data = Joystick_Read(&hjs, 10);
		Joystick_Track(&tracker, &data, 3000, 1000);

		if (g_cur_scene == SCENE_SHOOTING)
		{
			if (g_input_x == 0)
			{
				if ((tracker.x_plus_history & 0x01) == 0x01)
					g_input_x = 1;
				else if ((tracker.x_minus_history & 0x01) == 0x01)
					g_input_x = -1;

				//g_input_x = tracker.x_pos;
			}
			if (g_input_y == 0)
			{
				if ((tracker.y_plus_history & 0x01) == 0x01)
					g_input_y = 1;
				else if ((tracker.y_minus_history & 0x01) == 0x01)
					g_input_y = -1;

				//g_input_y = tracker.y_pos;
			}
		}
		else
		{
			if (g_input_x == 0)
			{
				if ((tracker.x_plus_history & 0x03) == 0x01)
					g_input_x = 1;
				else if ((tracker.x_minus_history & 0x03) == 0x01)
					g_input_x = -1;

				//g_input_x = tracker.x_pos;
			}
			if (g_input_y == 0)
			{
				if ((tracker.y_plus_history & 0x03) == 0x01)
					g_input_y = 1;
				else if ((tracker.y_minus_history & 0x03) == 0x01)
					g_input_y = -1;

				//g_input_y = tracker.y_pos;
			}
		}
		if (g_input_sw == 0) g_input_sw = (data.button == GPIO_PIN_SET);

#if SERIAL_DEBUG_MODE
		char buf[8];
		sprintf(buf, "%d\r\n", data.button);
		if (data.button == GPIO_PIN_SET)
			HAL_UART_Transmit(&huart2, (uint8_t*) buf, strlen(buf), HAL_MAX_DELAY);
#endif

		osDelay(40);
	}
  /* USER CODE END StartTask02 */
}

void StartTask03(void *argument)
{
  /* USER CODE BEGIN StartTask03 */
  /* Infinite loop */
  for(;;)
  {
	  PlayBGM();

	  osDelay(20);
  }
  /* USER CODE END StartTask03 */
}

void HAL_TIM_PeriodElapsedCallback(TIM_HandleTypeDef *htim)
{
  if (htim->Instance == TIM1)
  {
    HAL_IncTick();
  }
}

void Error_Handler(void)
{
	__disable_irq();
	while (1)
	{
	}
}
